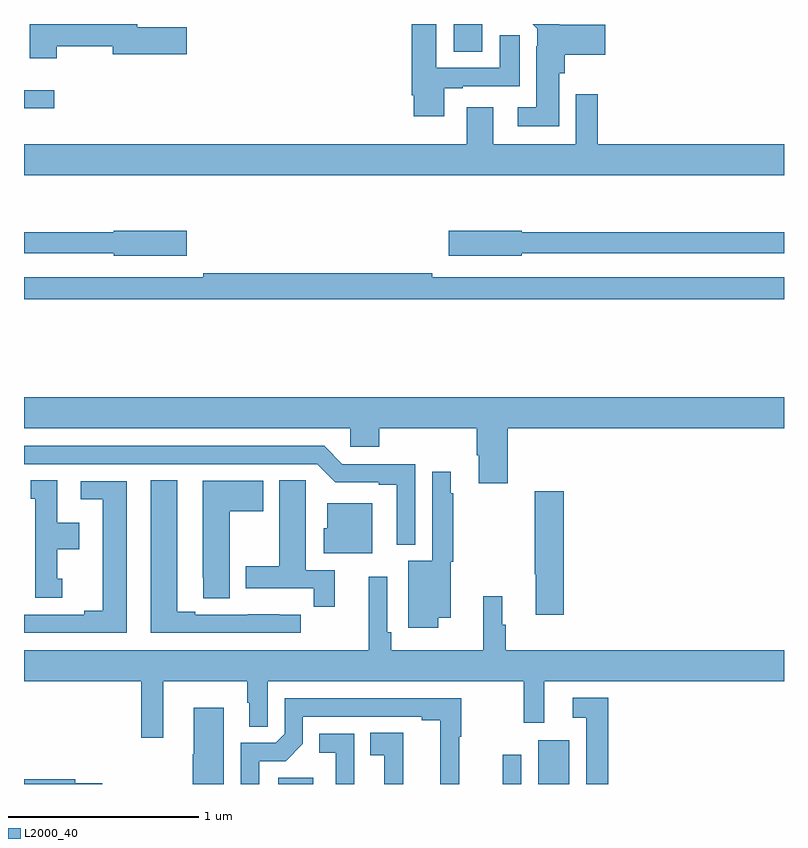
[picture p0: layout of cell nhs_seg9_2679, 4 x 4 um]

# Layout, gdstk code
import gdstk
lib = gdstk.Library(unit=1e-6, precision=1e-09)
def R(c, l, rs):  # rectangles x0, y0, x1, y1
    for r in rs: c.add(gdstk.rectangle(r[:2], r[2:], *l))
def P(c, l, *ps):  # polygons
    for p in ps: c.add(gdstk.Polygon(p, *l))
L2000_40 = (2000, 40)

nhs_seg9_2679 = lib.new_cell('nhs_seg9_2679')
R(nhs_seg9_2679, L2000_40, [(264.338,1242.5,264.523,1242.532), (265.519,1242.5,265.617,1242.655), (265.706,1242.5,265.87,1242.73), (263,1246.056,263.158,1246.152), (265.262,1246.354,265.411,1246.5)])
P(nhs_seg9_2679, L2000_40, [(263.172,1246.384),(263.468,1246.384),(263.468,1246.342),(263.857,1246.342),(263.857,1246.484),(263.596,1246.484),(263.596,1246.5),(263.03,1246.5),(263.03,1246.32),(263.172,1246.32)],
  [(265.213,1246.161),(265.309,1246.161),(265.309,1246.173),(265.609,1246.173),(265.609,1246.441),(265.505,1246.441),(265.505,1246.269),(265.171,1246.269),(265.171,1246.5),(265.04,1246.5),(265.04,1246.126),(265.052,1246.126),(265.052,1246.014),(265.213,1246.014)],
  [(265.816,1246.242),(265.847,1246.242),(265.847,1246.337),(266.059,1246.337),(266.059,1246.495),(265.821,1246.495),(265.816,1246.5),(265.677,1246.5),(265.701,1246.476),(265.701,1246.382),(265.697,1246.382),(265.697,1246.063),(265.599,1246.063),(265.599,1245.962),(265.816,1245.962)],
  [(267,1245.868),(266.021,1245.868),(266.021,1246.129),(265.905,1246.129),(265.905,1245.868),(265.471,1245.868),(265.471,1246.063),(265.331,1246.063),(265.331,1245.868),(263,1245.868),(263,1245.704),(267,1245.704)],
  [(263.857,1245.411),(263.472,1245.411),(263.472,1245.403),(263,1245.403),(263,1245.294),(263.472,1245.294),(263.472,1245.281),(263.857,1245.281)],
  [(265.62,1245.294),(267,1245.294),(267,1245.403),(265.62,1245.403),(265.62,1245.411),(265.236,1245.411),(265.236,1245.281),(265.62,1245.281)],
  [(267,1245.168),(265.148,1245.168),(265.148,1245.188),(263.944,1245.188),(263.944,1245.168),(263,1245.168),(263,1245.052),(267,1245.052)],
  [(265.547,1244.372),(267,1244.372),(267,1244.536),(263,1244.536),(263,1244.372),(264.717,1244.372),(264.717,1244.274),(264.869,1244.274),(264.869,1244.372),(265.382,1244.372),(265.382,1244.23),(265.394,1244.23),(265.394,1244.082),(265.547,1244.082)],
  [(265.059,1244.184),(264.675,1244.184),(264.579,1244.28),(263,1244.28),(263,1244.184),(264.543,1244.184),(264.639,1244.088),(264.866,1244.088),(264.866,1244.076),(264.962,1244.076),(264.962,1243.76),(265.059,1243.76)],
  [(265.18,1243.376),(265.246,1243.376),(265.246,1243.671),(265.258,1243.671),(265.258,1244.03),(265.246,1244.03),(265.246,1244.143),(265.149,1244.143),(265.149,1243.675),(265.022,1243.675),(265.022,1243.323),(265.18,1243.323)],
  [(264.635,1243.626),(264.484,1243.626),(264.484,1243.988),(264.483,1243.988),(264.483,1244.099),(264.344,1244.099),(264.344,1243.647),(264.167,1243.647),(264.167,1243.53),(264.526,1243.53),(264.526,1243.434),(264.635,1243.434)],
  [(263.2,1243.581),(263.176,1243.581),(263.176,1243.736),(263.29,1243.736),(263.29,1243.876),(263.176,1243.876),(263.176,1244.099),(263.036,1244.099),(263.036,1244.001),(263.06,1244.001),(263.06,1243.479),(263.2,1243.479)],
  [(264.457,1243.392),(264.344,1243.392),(264.344,1243.393),(264.178,1243.393),(264.178,1243.392),(263.902,1243.392),(263.902,1243.407),(263.806,1243.407),(263.806,1244.099),(263.666,1244.099),(263.666,1243.296),(264.457,1243.296)],
  [(264.082,1243.936),(264.259,1243.936),(264.259,1244.095),(263.942,1244.095),(263.942,1243.585),(263.943,1243.585),(263.943,1243.477),(264.082,1243.477)],
  [(263.542,1244.094),(263.298,1244.094),(263.298,1243.998),(263.414,1243.998),(263.414,1243.412),(263.318,1243.412),(263.318,1243.392),(263,1243.392),(263,1243.296),(263.542,1243.296)],
  [(265.841,1244.041),(265.687,1244.041),(265.687,1243.604),(265.694,1243.604),(265.694,1243.392),(265.841,1243.392)],
  [(264.832,1243.978),(264.596,1243.978),(264.596,1243.845),(264.578,1243.845),(264.578,1243.715),(264.832,1243.715)],
  [(265.535,1243.338),(265.516,1243.338),(265.516,1243.489),(265.417,1243.489),(265.417,1243.204),(264.932,1243.204),(264.932,1243.3),(264.912,1243.3),(264.912,1243.591),(264.815,1243.591),(264.815,1243.204),(263,1243.204),(263,1243.04),(263.617,1243.04),(263.617,1242.744),(263.734,1242.744),(263.734,1243.04),(264.174,1243.04),(264.174,1242.927),(264.185,1242.927),(264.185,1242.802),(264.282,1242.802),(264.282,1243.04),(265.629,1243.04),(265.629,1242.822),(265.738,1242.822),(265.738,1243.04),(267,1243.04),(267,1243.204),(265.535,1243.204)],
  [(266.075,1242.955),(265.887,1242.955),(265.887,1242.849),(265.959,1242.849),(265.959,1242.5),(266.075,1242.5)],
  [(264.237,1242.621),(264.378,1242.621),(264.468,1242.711),(264.468,1242.855),(265.094,1242.855),(265.094,1242.835),(265.19,1242.835),(265.19,1242.5),(265.291,1242.5),(265.291,1242.748),(265.301,1242.748),(265.301,1242.951),(264.372,1242.951),(264.372,1242.765),(264.324,1242.717),(264.141,1242.717),(264.141,1242.5),(264.237,1242.5)],
  [(264.052,1242.901),(263.894,1242.901),(263.894,1242.656),(263.887,1242.656),(263.887,1242.5),(264.052,1242.5)],
  [(264.995,1242.77),(264.823,1242.77),(264.823,1242.652),(264.896,1242.652),(264.896,1242.5),(264.995,1242.5)],
  [(264.739,1242.562),(264.738,1242.562),(264.738,1242.765),(264.553,1242.765),(264.553,1242.664),(264.642,1242.664),(264.642,1242.5),(264.739,1242.5)],
  [(263.412,1242.504),(263.27,1242.504),(263.27,1242.524),(263,1242.524),(263,1242.5),(263.412,1242.5)])

lib.write_gds('nhs_seg9_2679.gds')
